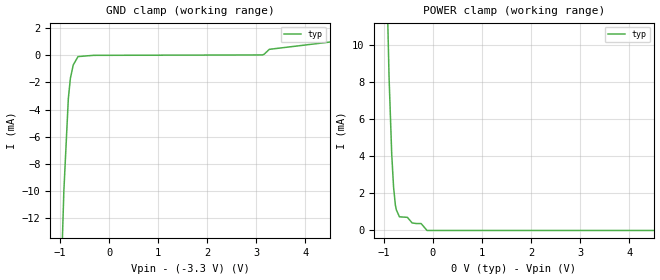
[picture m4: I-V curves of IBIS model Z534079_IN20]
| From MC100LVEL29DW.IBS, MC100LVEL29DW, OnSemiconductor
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| (C) COPYRIGHT 1993-2000
| MENTOR GRAPHICS CORPORATION
| ICX STANDARD LIBRARY, ICX PROJECT MODELING,
| ICX CUSTOM MODELING, ICX VENDOR MODEL
| ALL RIGHTS RESERVED.
| THE FOLLOWING ARE TRADEMARKS OR SERVICE MARKS OF
| MENTOR GRAPHICS CORPORATION:ICX (R), ICX STANDARD
| LIBRARY(R), ICX PROJECT MODELING(R), ICX CUSTOM
| MODELING(R), qualityIBIS(TM), MODELVIEWER(TM),
| AND MODELEDITOR(TM)
| ALL COPIES OF SOFTWARE, INCLUDING BUT NOT LIMITED TO
| ANY MODIFICATIONS, ENHANCEMENTS OR DERIVATIVE WORKS,
| MUST CONTAIN ALL MENTOR GRAPHICS CORPORATION'S
| NOTICES AND LEGENDS, INCLUDING THOSE EMBEDDED IN
| SOFTWARE AND THOSE AFFIXED TO SOFTWARE MEDIUM
| AND CONTAINER, AS RECEIVED FROM MENTOR GRAPHICS
| CORPORATION.
| Model Application Version 1.89 2/18/99.
[Model] Z534079_IN20
Model_type Input_ECL
Vinl = -1.900V
Vinh = -1.600V
C_comp 4.000pF NA NA
| variable typ   min   max
[Voltage Range] -3.300V NA NA
[GND Clamp Reference] -3.300V NA NA
[POWER Clamp Reference] 0.000V NA NA
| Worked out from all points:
|   GND clamp passes 1 mA (typ) near -0.75 V on its own axis
|   POWER clamp passes 1 mA (typ) near -0.73 V on its own axis
[GND Clamp]
-3.3V     -395mA     NA         NA
-1.014V   -20.68mA   NA         NA
-923mV    -9.971mA   NA         NA
-832mV    -3.192mA   NA         NA
-790mV    -1.695mA   NA         NA
-732mV    -719.2uA   NA         NA
-635mV    -103.7uA   NA         NA
-317.5mV  -10.84uA   NA         NA
3.121V    17.68uA    NA         NA
3.16V     75.89uA    NA         NA
3.263V    429.9uA    NA         NA
6.6V      1.879mA    NA         NA
[POWER Clamp]
-3.3V     2.056A     NA         NA
-1.004V   20.87mA    NA         NA
-893.9mV  8.281mA    NA         NA
-839.7mV  4.127mA    NA         NA
-801.5mV  2.327mA    NA         NA
-765.1mV  1.367mA    NA         NA
-745.4mV  1.111mA    NA         NA
-682.2mV  735.8uA    NA         NA
-423.8mV  406uA      NA         NA
-240.5mV  372.5uA    NA         NA
-120.3mV  0A         NA         NA
6.6V      0A         NA         NA
